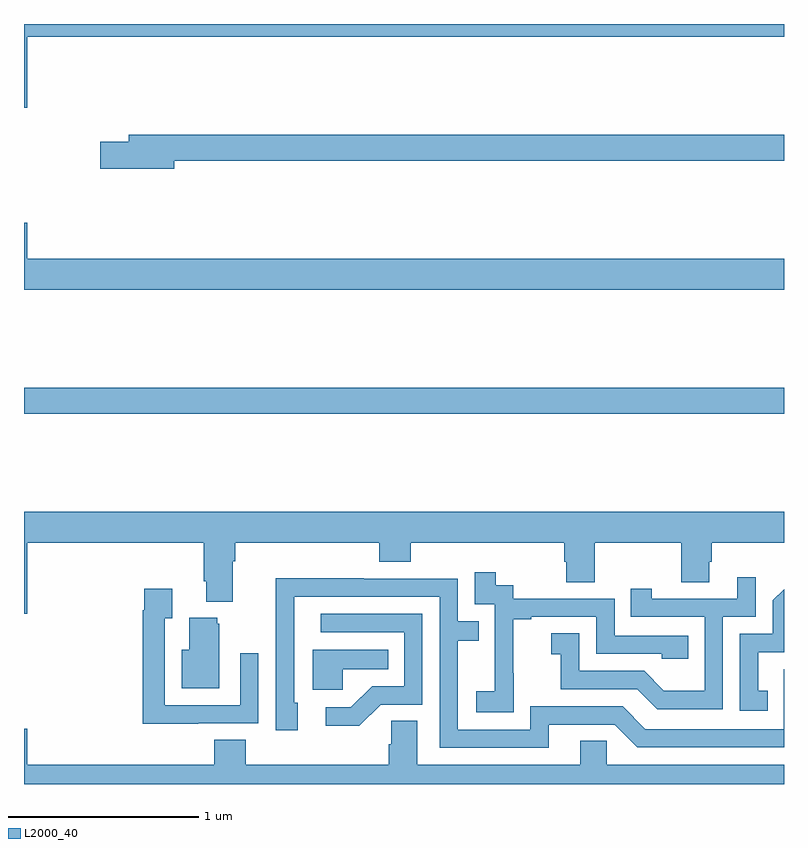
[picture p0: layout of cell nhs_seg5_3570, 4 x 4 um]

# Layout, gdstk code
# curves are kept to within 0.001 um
import gdstk
lib = gdstk.Library(unit=1e-6, precision=1e-09)
def R(c, l, rs):  # rectangles x0, y0, x1, y1
    for r in rs: c.add(gdstk.rectangle(r[:2], r[2:], *l))
def P(c, l, *ps):  # polygons
    for p in ps: c.add(gdstk.Polygon(p, *l))
L2000_40 = (2000, 40)

nhs_seg5_3570 = lib.new_cell('nhs_seg5_3570')
R(nhs_seg5_3570, L2000_40, [(321,882.748,325,882.884)])
P(nhs_seg5_3570, L2000_40, [(321.016,884.732),(325,884.732),(325,884.799),(321,884.799),(321,884.358),(321.016,884.358)],
  [(321.79,884.08),(325,884.08),(325,884.216),(321.551,884.216),(321.551,884.18),(321.402,884.18),(321.402,884.038),(321.79,884.038)],
  [(325,883.564),(321.016,883.564),(321.016,883.753),(321,883.753),(321,883.4),(325,883.4)],
  [(321.016,882.068),(321.947,882.068),(321.947,881.866),(321.959,881.866),(321.959,881.759),(322.099,881.759),(322.099,881.972),(322.112,881.972),(322.112,882.068),(322.871,882.068),(322.871,881.969),(323.036,881.969),(323.036,882.068),(323.843,882.068),(323.843,881.97),(323.855,881.97),(323.855,881.86),(324.003,881.86),(324.003,882.068),(324.46,882.068),(324.46,881.86),(324.607,881.86),(324.607,881.97),(324.62,881.97),(324.62,882.068),(325,882.068),(325,882.232),(321,882.232),(321,881.694),(321.016,881.694)],
  [(323.577,881.383),(323.576,881.383),(323.576,881.667),(323.671,881.667),(323.671,881.679),(324.012,881.679),(324.012,881.484),(324.357,881.484),(324.357,881.457),(324.497,881.457),(324.497,881.58),(324.108,881.58),(324.108,881.775),(323.574,881.775),(323.574,881.844),(323.482,881.844),(323.482,881.914),(323.373,881.914),(323.373,881.745),(323.478,881.745),(323.478,881.516),(323.477,881.516),(323.477,881.287),(323.379,881.287),(323.379,881.177),(323.577,881.177)],
  [(324.678,881.679),(324.852,881.679),(324.852,881.887),(324.755,881.887),(324.755,881.775),(324.304,881.775),(324.304,881.827),(324.193,881.827),(324.193,881.679),(324.582,881.679),(324.582,881.29),(324.368,881.29),(324.264,881.394),(323.922,881.394),(323.922,881.593),(323.775,881.593),(323.775,881.483),(323.824,881.483),(323.824,881.298),(324.227,881.298),(324.332,881.193),(324.678,881.193)],
  [(323.761,881.112),(324.108,881.112),(324.228,880.992),(325,880.992),(325,881.403),(324.999,881.088),(324.27,881.088),(324.15,881.208),(323.664,881.208),(323.664,881.085),(323.283,881.085),(323.283,881.554),(323.393,881.554),(323.393,881.655),(323.283,881.655),(323.283,881.88),(322.787,881.88),(322.787,881.882),(322.324,881.882),(322.324,881.575),(322.326,881.575),(322.326,881.082),(322.441,881.082),(322.441,881.226),(322.422,881.226),(322.423,881.784),(323.187,881.784),(323.187,880.989),(323.761,880.989)],
  [(321.917,881.118),(322.233,881.118),(322.233,881.488),(322.137,881.488),(322.137,881.214),(321.741,881.214),(321.741,881.671),(321.781,881.671),(321.781,881.827),(321.633,881.827),(321.633,881.714),(321.625,881.714),(321.625,881.117),(321.917,881.117)],
  [(324.914,881.289),(324.865,881.289),(324.865,881.493),(325,881.493),(325,881.824),(324.942,881.766),(324.942,881.589),(324.768,881.589),(324.768,881.184),(324.914,881.184)],
  [(322.878,881.217),(323.097,881.217),(323.097,881.694),(322.563,881.694),(322.563,881.598),(323.001,881.598),(323.001,881.313),(322.832,881.313),(322.721,881.202),(322.587,881.202),(322.587,881.105),(322.765,881.105)],
  [(322.027,881.643),(322.016,881.643),(322.016,881.674),(321.869,881.674),(321.869,881.506),(321.83,881.506),(321.83,881.303),(322.027,881.303)],
  [(322.677,881.402),(322.916,881.402),(322.916,881.506),(322.52,881.506),(322.52,881.294),(322.677,881.294)],
  [(325,880.9),(324.066,880.9),(324.066,881.027),(323.927,881.027),(323.927,880.9),(323.071,880.9),(323.071,881.132),(322.932,881.132),(322.932,881.009),(322.919,881.009),(322.919,880.9),(322.166,880.9),(322.166,881.033),(322.001,881.033),(322.001,880.9),(321.016,880.9),(321.016,881.089),(321,881.089),(321,880.799),(325,880.799)])

lib.write_gds('nhs_seg5_3570.gds')
